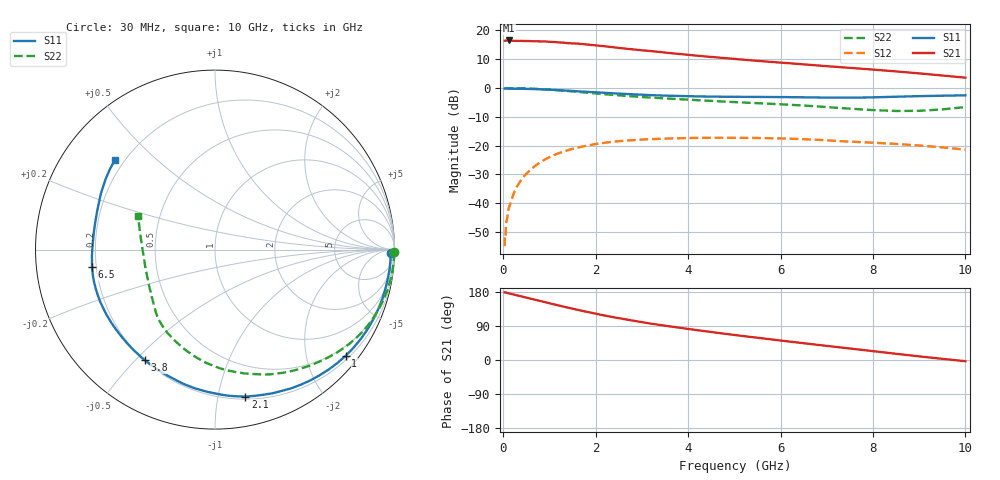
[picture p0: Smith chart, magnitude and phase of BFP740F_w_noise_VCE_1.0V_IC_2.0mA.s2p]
! Infineon Technologies  Discrete & RF Semiconductors
! BFP740F
! VCE =  1.0 V,  IC =  2.0 mA
! Common Emitter S-Parameters:  Oct 2012
# GHz  S  MA  R  50
!  f  S11  S21  S12  S22
! GHz  MAG  ANG  MAG  ANG  MAG  ANG  MAG  ANG
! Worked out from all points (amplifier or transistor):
!   99 points, 30 MHz to 10 GHz, reference 50 ohm
!   highest |S21| = 16.5 dB at 120 MHz (marker M1)
!   |S21| within 3 dB of that: start of sweep to 2.747 GHz
!   unconditionally stable (mu >= 1): 9.717 GHz to end of sweep
!   at 350 MHz: K = 0.01, MSG = 24.6 dB, |S12| = -32.8 dB
!   at 3.5 GHz: K = 0.22, MSG = 14.9 dB, |S12| = -17.5 dB
!   at 10 GHz: K = 1.04, MAG = 11.2 dB, |S12| = -21.4 dB
!   lowest NFmin = 0.37 dB at 450 MHz
!   S11 on the Smith chart (normalised r, x): 30 MHz: 48, -49; 1 GHz: 0.28, -2.79; 2.1 GHz: 0.22, -1.20; 3.8 GHz: 0.20, -0.53; 6.5 GHz: 0.18, -0.07; 10 GHz: 0.16, +0.37
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0.03  0.9798 -1.2  6.632 178.5  0.0018 86.6  0.9989 -0.9
0.04  0.9801 -1.6  6.628 178.3  0.0028 95.1  0.9991 -1.2
0.05  0.9794 -1.9  6.677 178.1  0.0027 79.6  0.9993 -1.5
0.06  0.9794 -2.4  6.662 177.9  0.0043 81.3  0.9997 -1.7
0.12  0.9785 -4.8  6.713 176.0  0.0083 88.7  0.9984 -3.5
0.25  0.9761 -9.9  6.616 172.1  0.0165 84.4  0.9946 -7.3
0.4  0.972 -15.8  6.601 167.6  0.0263 79.6  0.9889 -11.6
0.8  0.9529 -31.4  6.479 155.8  0.0514 68.8  0.9616 -23.2
1  0.9385 -39.1  6.363 149.8  0.0632 63.1  0.9408 -29.0
1.3  0.9108 -50.3  6.148 141.0  0.079 55.0  0.9024 -37.5
1.7  0.8704 -64.8  5.823 129.9  0.096 45.2  0.8466 -48.2
2.1  0.8364 -78.3  5.422 119.6  0.1099 35.9  0.7948 -58.9
2.7  0.7869 -95.6  4.793 106.1  0.1233 24.1  0.7276 -72.4
3.4  0.7444 -113.6  4.224 92.3  0.1317 12.6  0.6686 -85.9
3.8  0.7294 -122.5  3.917 85.4  0.1344 6.9  0.6412 -92.2
4.4  0.7131 -135.2  3.529 75.5  0.1367 -1.1  0.6044 -101.0
5.1  0.7052 -148.8  3.159 64.6  0.137 -9.6  0.5659 -110.6
6.5  0.6917 -172.0  2.58 44.3  0.1297 -25.5  0.4978 -129.3
6.7  0.6878 -175.2  2.504 41.5  0.1274 -27.7  0.4863 -131.9
7.6  0.6827 169.2  2.215 28.9  0.1167 -35.4  0.4347 -144.9
8.5  0.7079 154.0  1.946 16.4  0.1073 -42.6  0.4005 -165.5
10  0.7484 138.2  1.516 -3.2  0.0855 -53.3  0.4679 156.3
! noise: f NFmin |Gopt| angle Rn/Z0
0.45  0.37  0.55  9  0.3
0.9  0.44  0.56  17  0.26
1.5  0.55  0.55  27  0.24
1.9  0.63  0.52  37  0.24
2.4  0.73  0.49  45  0.24
3.5  0.95  0.44  70  0.23
5.5  1.33  0.35  115  0.23
10  2.08  0.52  -136  0.1
